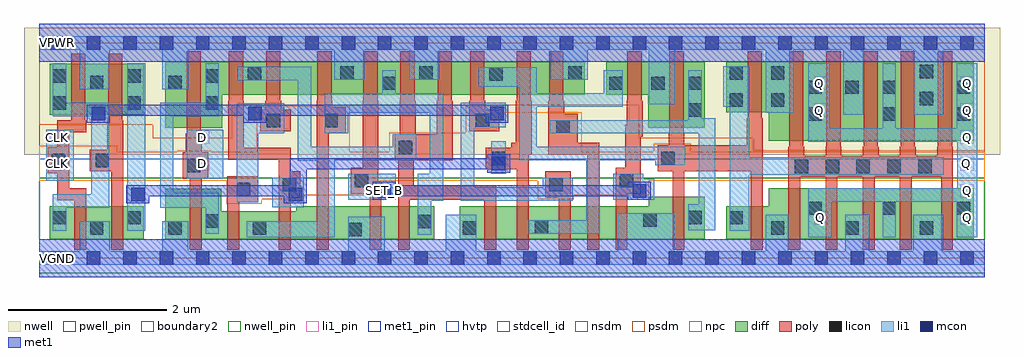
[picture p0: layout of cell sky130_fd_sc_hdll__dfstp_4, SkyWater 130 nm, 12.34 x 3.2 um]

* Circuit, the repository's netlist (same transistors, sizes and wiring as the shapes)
* Copyright 2020 The SkyWater PDK Authors
*
* Licensed under the Apache License, Version 2.0 (the "License");
* you may not use this file except in compliance with the License.
* You may obtain a copy of the License at
*
*     https://www.apache.org/licenses/LICENSE-2.0
*
* Unless required by applicable law or agreed to in writing, software
* distributed under the License is distributed on an "AS IS" BASIS,
* WITHOUT WARRANTIES OR CONDITIONS OF ANY KIND, either express or implied.
* See the License for the specific language governing permissions and
* limitations under the License.
*
* SPDX-License-Identifier: Apache-2.0

.SUBCKT sky130_fd_sc_hdll__dfstp_4 CLK D SET_B VGND VNB VPB VPWR Q
*.PININFO CLK:I D:I SET_B:I VGND:I VNB:I VPB:I VPWR:I Q:O
MI36 net120 M0 VGND VNB sky130_fd_pr__nfet_01v8 m=1 w=0.42U l=0.15U mult=1 sa=0.265
+ sb=0.265 sd=0.28 area=0.063 perim=1.14
MI42 db clkneg M0 VNB sky130_fd_pr__nfet_01v8 m=1 w=0.36U l=0.15U mult=1 sa=0.265
+ sb=0.265 sd=0.28 area=0.063 perim=1.14
MI44 clkneg CLK VGND VNB sky130_fd_pr__nfet_01v8 m=1 w=0.42U l=0.15U mult=1 sa=0.265
+ sb=0.265 sd=0.28 area=0.063 perim=1.14
MI39 db D VGND VNB sky130_fd_pr__nfet_01v8 m=1 w=0.64U l=0.15U mult=1 sa=0.265
+ sb=0.265 sd=0.28 area=0.063 perim=1.14
MI656 M1 M0 net103 VNB sky130_fd_pr__nfet_01v8 m=1 w=0.42U l=0.15U mult=1 sa=0.265
+ sb=0.265 sd=0.28 area=0.063 perim=1.14
MI654 net100 M1 VGND VNB sky130_fd_pr__nfet_01v8 m=1 w=0.42U l=0.15U mult=1 sa=0.265
+ sb=0.265 sd=0.28 area=0.063 perim=1.14
MI34 S0 clkpos net120 VNB sky130_fd_pr__nfet_01v8 m=1 w=0.42U l=0.15U mult=1 sa=0.265
+ sb=0.265 sd=0.28 area=0.063 perim=1.14
MI46 clkpos clkneg VGND VNB sky130_fd_pr__nfet_01v8 m=1 w=0.42U l=0.15U mult=1
+ sa=0.265 sb=0.265 sd=0.28 area=0.063 perim=1.14
MI25 net88 SET_B VGND VNB sky130_fd_pr__nfet_01v8 m=1 w=0.42U l=0.15U mult=1 sa=0.265
+ sb=0.265 sd=0.28 area=0.063 perim=1.14
MI26 S0 clkneg net80 VNB sky130_fd_pr__nfet_01v8 m=1 w=0.42U l=0.15U mult=1 sa=0.265
+ sb=0.265 sd=0.28 area=0.063 perim=1.14
MI27 net80 S1 net88 VNB sky130_fd_pr__nfet_01v8 m=1 w=0.42U l=0.15U mult=1 sa=0.265
+ sb=0.265 sd=0.28 area=0.063 perim=1.14
MI647 S1 S0 VGND VNB sky130_fd_pr__nfet_01v8 m=1 w=0.54U l=0.15U mult=1 sa=0.265
+ sb=0.265 sd=0.28 area=0.063 perim=1.14
MI655 M0 clkpos net100 VNB sky130_fd_pr__nfet_01v8 m=1 w=0.36U l=0.15U mult=1 sa=0.265
+ sb=0.265 sd=0.28 area=0.063 perim=1.14
MI657 net103 SET_B VGND VNB sky130_fd_pr__nfet_01v8 m=1 w=0.42U l=0.15U mult=1
+ sa=0.265 sb=0.265 sd=0.28 area=0.063 perim=1.14
MI652 net128 S0 VGND VNB sky130_fd_pr__nfet_01v8 m=1 w=0.42U l=0.15U mult=1 sa=0.265
+ sb=0.265 sd=0.28 area=0.063 perim=1.14
MI653 Q net128 VGND VNB sky130_fd_pr__nfet_01v8 m=5 w=0.65U l=0.15U mult=1 sa=0.265
+ sb=0.265 sd=0.28 area=0.063 perim=1.14
MI40 db D VPWR VPB sky130_fd_pr__pfet_01v8_hvt m=1 w=0.84U l=0.18U mult=1 sa=0.265
+ sb=0.265 sd=0.28 area=0.063 perim=1.14
MI38 S0 clkneg net179 VPB sky130_fd_pr__pfet_01v8_hvt m=1 w=0.42U l=0.18U mult=1
+ sa=0.265 sb=0.265 sd=0.28 area=0.063 perim=1.14
MI37 net179 M0 VPWR VPB sky130_fd_pr__pfet_01v8_hvt m=1 w=0.42U l=0.18U mult=1
+ sa=0.265 sb=0.265 sd=0.28 area=0.063 perim=1.14
MI43 db clkpos M0 VPB sky130_fd_pr__pfet_01v8_hvt m=1 w=0.42U l=0.18U mult=1 sa=0.265
+ sb=0.265 sd=0.28 area=0.063 perim=1.14
MI45 clkneg CLK VPWR VPB sky130_fd_pr__pfet_01v8_hvt m=1 w=0.64U l=0.18U mult=1
+ sa=0.265 sb=0.265 sd=0.28 area=0.063 perim=1.14
MI47 clkpos clkneg VPWR VPB sky130_fd_pr__pfet_01v8_hvt m=1 w=0.64U l=0.18U mult=1
+ sa=0.265 sb=0.265 sd=0.28 area=0.063 perim=1.14
MI659 M1 SET_B VPWR VPB sky130_fd_pr__pfet_01v8_hvt m=1 w=0.42U l=0.18U mult=1
+ sa=0.265 sb=0.265 sd=0.28 area=0.063 perim=1.14
MI662 net156 M1 VPWR VPB sky130_fd_pr__pfet_01v8_hvt m=1 w=0.42U l=0.18U mult=1
+ sa=0.265 sb=0.265 sd=0.28 area=0.063 perim=1.14
MI664 M0 clkneg net156 VPB sky130_fd_pr__pfet_01v8_hvt m=1 w=0.42U l=0.18U mult=1
+ sa=0.265 sb=0.265 sd=0.28 area=0.063 perim=1.14
MI6 net143 S1 VPWR VPB sky130_fd_pr__pfet_01v8_hvt m=1 w=0.42U l=0.18U mult=1 sa=0.265
+ sb=0.265 sd=0.28 area=0.063 perim=1.14
MI5 S0 clkpos net143 VPB sky130_fd_pr__pfet_01v8_hvt m=1 w=0.42U l=0.18U mult=1
+ sa=0.265 sb=0.265 sd=0.28 area=0.063 perim=1.14
MI24 S0 SET_B VPWR VPB sky130_fd_pr__pfet_01v8_hvt m=1 w=0.42U l=0.18U mult=1 sa=0.265
+ sb=0.265 sd=0.28 area=0.063 perim=1.14
MI648 S1 S0 VPWR VPB sky130_fd_pr__pfet_01v8_hvt m=1 w=0.84U l=0.18U mult=1 sa=0.265
+ sb=0.265 sd=0.28 area=0.063 perim=1.14
MI658 M1 M0 VPWR VPB sky130_fd_pr__pfet_01v8_hvt m=1 w=0.42U l=0.18U mult=1 sa=0.265
+ sb=0.265 sd=0.28 area=0.063 perim=1.14
MI663 net128 S0 VPWR VPB sky130_fd_pr__pfet_01v8_hvt m=1 w=0.64U l=0.18U mult=1
+ sa=0.265 sb=0.265 sd=0.28 area=0.063 perim=1.14
MI660 Q net128 VPWR VPB sky130_fd_pr__pfet_01v8_hvt m=5 w=1.0U l=0.18U mult=1 sa=0.265
+ sb=0.265 sd=0.28 area=0.063 perim=1.14
.ENDS sky130_fd_sc_hdll__dfstp_4

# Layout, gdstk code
import gdstk
lib = gdstk.Library(unit=1e-6, precision=1e-09)
def R(c, l, rs):  # rectangles x0, y0, x1, y1
    for r in rs: c.add(gdstk.rectangle(r[:2], r[2:], *l))
def A(c, l, x, y, w, h, nx, ny, dx, dy):  # array of equal rectangles
    R(c, l, [(x+i*dx, y+j*dy, x+i*dx+w, y+j*dy+h) for i in range(nx) for j in range(ny)])
def P(c, l, *ps):  # polygons
    for p in ps: c.add(gdstk.Polygon(p, *l))
nwell_pin = (64, 16)
nwell = (64, 20)
diff = (65, 20)
poly = (66, 20)
licon = (66, 44)
li1_pin = (67, 16)
li1 = (67, 20)
mcon = (67, 44)
met1_pin = (68, 16)
met1 = (68, 20)
hvtp = (78, 44)
stdcell_id = (81, 4)
nsdm = (93, 44)
psdm = (94, 20)
npc = (95, 20)
pwell_pin = (122, 16)
boundary2 = (236, 0)

sky130_fd_sc_hdll__dfstp = lib.new_cell('sky130_fd_sc_hdll__dfstp_4')
R(sky130_fd_sc_hdll__dfstp, nwell_pin, [(0.145,2.635,0.315,2.805), (0.145,2.635,0.315,2.805)])
R(sky130_fd_sc_hdll__dfstp, nwell, [(-0.19,1.305,12.15,2.91)])
R(sky130_fd_sc_hdll__dfstp, diff, [(0.135,0.235,1.325,0.655), (0.135,1.815,1.325,2.455)])
P(sky130_fd_sc_hdll__dfstp, diff, [(5,0.655),(3.255,0.655),(3.255,0.595),(2.305,0.595),(2.305,0.875),(1.595,0.875),(1.595,0.235),(5,0.235)],
  [(6.9,2.485),(1.595,2.485),(1.595,1.645),(2.315,1.645),(2.315,2.065),(6.9,2.065)],
  [(8.42,2.485),(7.17,2.485),(7.17,2.065),(7.705,2.065),(7.705,1.645),(8.42,1.645)],
  [(8.42,0.775),(7.71,0.775),(7.71,0.655),(5.32,0.655),(5.32,0.235),(8.42,0.235)],
  [(11.815,2.485),(8.69,2.485),(8.69,1.845),(9.225,1.845),(9.225,1.485),(11.815,1.485)],
  [(11.815,0.885),(9.225,0.885),(9.225,0.655),(8.69,0.655),(8.69,0.235),(11.815,0.235)])
P(sky130_fd_sc_hdll__dfstp, poly, [(0.595,1.74),(0.585,1.74),(0.585,2.585),(0.405,2.585),(0.405,1.74),(0.23,1.74),(0.23,1.4),(0.11,1.4),(0.11,1.07),(0.23,1.07),(0.23,0.73),(0.445,0.73),(0.445,0.105),(0.595,0.105),(0.595,0.88),(0.38,0.88),(0.38,1.59),(0.595,1.59)],
  [(1.065,1.74),(1.055,1.74),(1.055,2.585),(0.875,2.585),(0.875,1.74),(0.865,1.74),(0.865,1.37),(0.64,1.37),(0.64,1.1),(0.915,1.1),(0.915,0.105),(1.065,0.105)],
  [(2.14,1.335),(2.055,1.335),(2.055,1.57),(2.045,1.57),(2.045,2.615),(1.865,2.615),(1.865,1.57),(1.855,1.57),(1.855,1.335),(1.82,1.335),(1.82,1.005),(1.905,1.005),(1.905,0.105),(2.055,0.105),(2.055,1.005),(2.14,1.005)],
  [(2.77,1.035),(2.38,1.035),(2.38,0.105),(2.53,0.105),(2.53,0.705),(2.77,0.705)],
  [(3.18,1.875),(3.06,1.875),(3.06,1.99),(3.05,1.99),(3.05,2.615),(2.87,2.615),(2.87,1.99),(2.86,1.99),(2.86,1.875),(2.8,1.875),(2.8,1.605),(3.18,1.605)],
  [(3.3,1.095),(3.18,1.095),(3.18,1.395),(2.59,1.395),(2.59,1.99),(2.58,1.99),(2.58,2.615),(2.4,2.615),(2.4,1.99),(2.39,1.99),(2.39,1.245),(3.03,1.245),(3.03,0.105),(3.18,0.105),(3.18,0.765),(3.3,0.765)],
  [(3.88,1.905),(3.71,1.905),(3.71,1.99),(3.7,1.99),(3.7,2.615),(3.52,2.615),(3.52,1.99),(3.51,1.99),(3.51,0.105),(3.66,0.105),(3.66,1.575),(3.88,1.575)],
  [(4.33,0.965),(4.29,0.965),(4.29,1.99),(4.28,1.99),(4.28,2.615),(4.1,2.615),(4.1,1.99),(4.09,1.99),(4.09,1.145),(3.94,1.145),(3.94,0.815),(4.18,0.815),(4.18,0.105),(4.33,0.105)],
  [(5.78,0.915),(4.74,0.915),(4.74,1.235),(5.23,1.235),(5.23,1.99),(5.22,1.99),(5.22,2.615),(5.04,2.615),(5.04,1.99),(5.03,1.99),(5.03,1.565),(4.76,1.565),(4.76,1.99),(4.75,1.99),(4.75,2.615),(4.57,2.615),(4.57,1.99),(4.56,1.99),(4.56,1.565),(4.5,1.565),(4.5,1.235),(4.54,1.235),(4.54,0.105),(4.69,0.105),(4.69,0.735),(5.63,0.735),(5.63,0.105),(5.78,0.105)],
  [(5.82,1.875),(5.64,1.875),(5.64,1.99),(5.63,1.99),(5.63,2.615),(5.45,2.615),(5.45,1.99),(5.44,1.99),(5.44,1.605),(5.82,1.605)],
  [(6.23,1.99),(6.22,1.99),(6.22,2.615),(6.04,2.615),(6.04,1.99),(6.03,1.99),(6.03,1.455),(5.97,1.455),(5.97,1.395),(5.65,1.395),(5.65,1.125),(6.04,1.125),(6.04,0.105),(6.19,0.105),(6.19,1.305),(6.23,1.305)],
  [(6.72,1.095),(6.4,1.095),(6.4,0.765),(6.57,0.765),(6.57,0.105),(6.72,0.105)],
  [(7.08,1.455),(6.81,1.455),(6.81,1.825),(6.64,1.825),(6.64,1.99),(6.63,1.99),(6.63,2.615),(6.45,2.615),(6.45,1.99),(6.44,1.99),(6.44,1.305),(6.93,1.305),(6.93,0.105),(7.08,0.105)],
  [(7.63,1.99),(7.62,1.99),(7.62,2.615),(7.44,2.615),(7.44,1.99),(7.43,1.99),(7.43,1.685),(7.41,1.685),(7.41,1.145),(7.29,1.145),(7.29,0.105),(7.44,0.105),(7.44,0.815),(7.61,0.815),(7.61,1.535),(7.63,1.535)],
  [(9.15,1.77),(9.14,1.77),(9.14,2.615),(8.96,2.615),(8.96,1.77),(8.95,1.77),(8.95,1.425),(8.16,1.425),(8.16,1.57),(8.15,1.57),(8.15,2.615),(7.97,2.615),(7.97,1.57),(7.96,1.57),(7.96,1.425),(7.82,1.425),(7.82,1.095),(8.01,1.095),(8.01,0.105),(8.16,0.105),(8.16,1.095),(9,1.095),(9,0.105),(9.15,0.105)],
  [(11.555,1.41),(11.545,1.41),(11.545,2.615),(11.365,2.615),(11.365,1.41),(11.355,1.41),(11.355,1.295),(11.085,1.295),(11.085,1.41),(11.075,1.41),(11.075,2.615),(10.895,2.615),(10.895,1.41),(10.885,1.41),(10.885,1.295),(10.615,1.295),(10.615,1.41),(10.605,1.41),(10.605,2.615),(10.425,2.615),(10.425,1.41),(10.415,1.41),(10.415,1.295),(10.145,1.295),(10.145,1.41),(10.135,1.41),(10.135,2.615),(9.955,2.615),(9.955,1.41),(9.945,1.41),(9.945,1.295),(9.675,1.295),(9.675,1.41),(9.665,1.41),(9.665,2.615),(9.485,2.615),(9.485,1.41),(9.475,1.41),(9.475,0.105),(9.625,0.105),(9.625,1.025),(9.945,1.025),(9.945,0.105),(10.095,0.105),(10.095,1.025),(10.415,1.025),(10.415,0.105),(10.565,0.105),(10.565,1.025),(10.885,1.025),(10.885,0.105),(11.035,0.105),(11.035,1.025),(11.405,1.025),(11.405,0.105),(11.555,0.105)])
A(sky130_fd_sc_hdll__dfstp, licon, 9.255, 0.295, 0.17, 0.17, 3, 1, 0.94, 0)
A(sky130_fd_sc_hdll__dfstp, licon, 9.725, 0.545, 0.17, 0.17, 3, 2, 0.94, 1.19)
A(sky130_fd_sc_hdll__dfstp, licon, 9.555, 1.075, 0.17, 0.17, 5, 1, 0.39, 0)
A(sky130_fd_sc_hdll__dfstp, licon, 9.725, 2.075, 0.17, 0.17, 3, 1, 0.47, 0)
R(sky130_fd_sc_hdll__dfstp, licon, [(3.91,0.275,4.08,0.445), (0.645,0.295,0.815,0.465), (1.635,0.295,1.805,0.465), (2.705,0.295,2.875,0.465), (5.36,0.295,5.53,0.465), (6.27,0.305,6.44,0.475), (4.79,0.375,4.96,0.545), (2.105,0.385,2.275,0.555), (7.64,0.395,7.81,0.565), (0.175,0.425,0.345,0.595), (1.115,0.425,1.285,0.595), (8.73,0.425,8.9,0.595), (8.21,0.43,8.38,0.6), (2.5,0.785,2.67,0.955), (3.08,0.845,3.25,1.015), (6.45,0.845,6.62,1.015), (3.99,0.895,4.16,1.065), (7.34,0.895,7.51,1.065), (1.87,1.085,2.04,1.255), (0.16,1.15,0.33,1.32), (0.72,1.15,0.89,1.32), (5.73,1.175,5.9,1.345), (7.87,1.175,8.04,1.345), (4.55,1.315,4.72,1.485), (6.54,1.575,6.71,1.745), (2.88,1.655,3.05,1.825), (3.61,1.655,3.78,1.825), (5.52,1.655,5.69,1.825), (8.21,1.785,8.38,1.955), (0.175,1.875,0.345,2.045), (1.115,1.875,1.285,2.045), (2.105,1.875,2.275,2.045), (8.73,1.915,8.9,2.085), (9.255,1.915,9.425,2.085), (11.135,1.935,11.305,2.105), (11.605,2.075,11.775,2.245), (4.34,2.125,4.51,2.295), (7.21,2.125,7.38,2.295), (7.74,2.125,7.91,2.295), (8.21,2.125,8.38,2.295), (0.645,2.135,0.815,2.305), (1.635,2.135,1.805,2.305), (0.175,2.215,0.345,2.385), (1.115,2.215,1.285,2.385), (2.105,2.215,2.275,2.385), (5.69,2.245,5.86,2.415), (2.64,2.25,2.81,2.42), (3.81,2.255,3.98,2.425), (4.81,2.255,4.98,2.425), (6.69,2.255,6.86,2.425), (8.73,2.255,8.9,2.425), (9.255,2.255,9.425,2.425), (11.135,2.275,11.305,2.445)])
A(sky130_fd_sc_hdll__dfstp, li1_pin, 11.645, 0.425, 0.17, 0.17, 1, 6, 0, 0.34)
R(sky130_fd_sc_hdll__dfstp, li1_pin, [(0.145,-0.085,0.315,0.085), (9.8,0.425,9.97,0.595), (0.145,1.105,0.315,1.275), (1.985,1.105,2.155,1.275), (0.145,1.445,0.315,1.615), (1.985,1.445,2.155,1.615), (9.8,1.785,9.97,1.955), (9.8,2.125,9.97,2.295), (0.145,2.635,0.315,2.805)])
R(sky130_fd_sc_hdll__dfstp, li1, [(1.115,0.345,1.34,2.465), (2.95,0.645,3.35,1.015), (3.91,0.735,4.51,1.065), (0.09,0.975,0.44,1.625), (1.87,1.005,2.33,1.625), (5.72,1.065,5.9,1.475)])
P(sky130_fd_sc_hdll__dfstp, li1, [(2.275,0.825),(1.7,0.825),(1.7,1.795),(2.275,1.795),(2.275,2.465),(2.105,2.465),(2.105,1.965),(1.53,1.965),(1.53,0.635),(2.105,0.635),(2.105,0.305),(2.275,0.305)],
  [(3.1,1.955),(2.5,1.955),(2.5,0.705),(2.77,0.705),(2.77,1.575),(3.1,1.575)],
  [(4.77,1.565),(4.47,1.565),(4.47,1.405),(3.44,1.405),(3.44,2.42),(2.51,2.42),(2.51,2.25),(3.27,2.25),(3.27,1.23),(3.52,1.23),(3.52,0.465),(2.625,0.465),(2.625,0.265),(3.74,0.265),(3.74,1.235),(4.77,1.235)],
  [(5.11,2.085),(4.51,2.085),(4.51,2.375),(4.34,2.375),(4.34,2.085),(3.61,2.085),(3.61,1.575),(3.91,1.575),(3.91,1.835),(4.94,1.835),(4.94,1.065),(4.79,1.065),(4.79,0.295),(4.96,0.295),(4.96,0.725),(5.11,0.725)],
  [(6.75,1.015),(6.37,1.015),(6.37,0.895),(5.5,0.895),(5.5,1.655),(5.9,1.655),(5.9,1.965),(5.33,1.965),(5.33,0.725),(6.75,0.725)],
  [(7.78,1.005),(7.64,1.005),(7.64,1.065),(7.26,1.065),(7.26,0.735),(7.78,0.735)],
  [(8.17,1.405),(6.29,1.405),(6.29,1.915),(7.38,1.915),(7.38,2.375),(7.14,2.375),(7.14,2.085),(6.29,2.085),(6.29,2.415),(5.56,2.415),(5.56,2.165),(6.07,2.165),(6.07,1.235),(6.92,1.235),(6.92,0.475),(6.19,0.475),(6.19,0.305),(7.09,0.305),(7.09,1.235),(7.79,1.235),(7.79,1.175),(8.17,1.175)],
  [(8.55,1.765),(8.38,1.765),(8.38,2.375),(8.21,2.375),(8.21,1.745),(6.46,1.745),(6.46,1.575),(8.34,1.575),(8.34,0.68),(8.21,0.68),(8.21,0.35),(8.55,0.35)],
  [(11.44,1.275),(8.98,1.275),(8.98,2.425),(8.65,2.425),(8.65,1.915),(8.73,1.915),(8.73,0.345),(8.98,0.345),(8.98,1.055),(11.44,1.055)],
  [(11.86,2.465),(11.605,2.465),(11.605,1.64),(10.835,1.64),(10.835,2.465),(10.665,2.465),(10.665,1.64),(9.995,1.64),(9.995,2.465),(9.725,2.465),(9.725,1.47),(11.61,1.47),(11.61,0.885),(9.725,0.885),(9.725,0.265),(10.025,0.265),(10.025,0.715),(10.665,0.715),(10.665,0.265),(10.835,0.265),(10.835,0.715),(11.605,0.715),(11.605,0.265),(11.86,0.265)],
  [(11.96,2.805),(0,2.805),(0,2.635),(0.515,2.635),(0.515,2.135),(0.895,2.135),(0.895,2.635),(1.555,2.635),(1.555,2.135),(1.885,2.135),(1.885,2.635),(3.73,2.635),(3.73,2.255),(4.11,2.255),(4.11,2.635),(4.68,2.635),(4.68,2.255),(5.06,2.255),(5.06,2.635),(6.47,2.635),(6.47,2.255),(6.94,2.255),(6.94,2.635),(7.71,2.635),(7.71,1.945),(8.04,1.945),(8.04,2.635),(9.19,2.635),(9.19,1.835),(9.545,1.835),(9.545,2.635),(10.165,2.635),(10.165,1.81),(10.42,1.81),(10.42,2.635),(11.055,2.635),(11.055,1.81),(11.435,1.81),(11.435,2.635),(11.96,2.635)],
  [(11.96,0.085),(11.435,0.085),(11.435,0.545),(11.055,0.545),(11.055,0.085),(10.495,0.085),(10.495,0.545),(10.195,0.545),(10.195,0.085),(9.475,0.085),(9.475,0.545),(9.19,0.545),(9.19,0.085),(8.03,0.085),(8.03,0.565),(7.32,0.565),(7.32,0.085),(5.53,0.085),(5.53,0.545),(5.14,0.545),(5.14,0.085),(4.37,0.085),(4.37,0.525),(3.91,0.525),(3.91,0.085),(1.885,0.085),(1.885,0.465),(1.555,0.465),(1.555,0.085),(0.895,0.085),(0.895,0.465),(0.515,0.465),(0.515,0.085),(0,0.085),(0,-0.085),(11.96,-0.085)],
  [(0.89,1.965),(0.345,1.965),(0.345,2.465),(0.175,2.465),(0.175,1.795),(0.66,1.795),(0.66,0.805),(0.175,0.805),(0.175,0.345),(0.345,0.345),(0.345,0.635),(0.89,0.635)])
A(sky130_fd_sc_hdll__dfstp, mcon, 0.145, -0.085, 0.17, 0.17, 26, 2, 0.46, 2.72)
R(sky130_fd_sc_hdll__dfstp, mcon, [(1.165,0.72,1.335,0.89), (3.155,0.72,3.325,0.89), (4.28,0.765,4.45,0.935), (7.505,0.765,7.675,0.935), (5.725,1.11,5.895,1.28), (0.665,1.74,0.835,1.91), (2.645,1.74,2.815,1.91), (5.705,1.74,5.875,1.91)])
R(sky130_fd_sc_hdll__dfstp, met1_pin, [(0.145,-0.085,0.315,0.085), (4.285,0.765,4.455,0.935), (0.145,2.635,0.315,2.805)])
R(sky130_fd_sc_hdll__dfstp, met1, [(0,-0.24,11.96,0.24), (0,2.48,11.96,2.96)])
P(sky130_fd_sc_hdll__dfstp, met1, [(5.955,1.31),(5.665,1.31),(5.665,1.26),(3.17,1.26),(3.17,0.92),(1.105,0.92),(1.105,0.69),(1.395,0.69),(1.395,0.78),(3.095,0.78),(3.095,0.69),(3.385,0.69),(3.385,1.12),(5.665,1.12),(5.665,1.08),(5.955,1.08)],
  [(5.935,1.94),(0.605,1.94),(0.605,1.71),(0.895,1.71),(0.895,1.8),(2.585,1.8),(2.585,1.71),(2.875,1.71),(2.875,1.8),(5.645,1.8),(5.645,1.71),(5.935,1.71)],
  [(7.735,0.965),(7.445,0.965),(7.445,0.92),(4.51,0.92),(4.51,0.965),(4.22,0.965),(4.22,0.735),(4.51,0.735),(4.51,0.78),(7.445,0.78),(7.445,0.735),(7.735,0.735)])
R(sky130_fd_sc_hdll__dfstp, hvtp, [(0,1.25,11.96,2.72)])
R(sky130_fd_sc_hdll__dfstp, stdcell_id, [(0,0,11.96,2.72)])
R(sky130_fd_sc_hdll__dfstp, nsdm, [(0,-0.19,11.96,1.015)])
P(sky130_fd_sc_hdll__dfstp, psdm, [(11.96,2.91),(0,2.91),(0,1.685),(1.44,1.685),(1.44,1.515),(2.445,1.515),(2.445,1.935),(7.58,1.935),(7.58,1.515),(9.03,1.515),(9.03,1.355),(11.96,1.355)])
P(sky130_fd_sc_hdll__dfstp, npc, [(11.96,1.345),(8.24,1.345),(8.24,1.445),(7.77,1.445),(7.77,1.345),(6.86,1.345),(6.86,1.845),(5.84,1.845),(5.84,1.925),(5.395,1.925),(5.395,1.585),(4.425,1.585),(4.425,1.345),(3.93,1.345),(3.93,1.925),(2.755,1.925),(2.755,1.345),(2.165,1.345),(2.165,1.355),(1.745,1.355),(1.745,1.345),(0.99,1.345),(0.99,1.42),(0,1.42),(0,0.975),(2.375,0.975),(2.375,0.685),(2.815,0.685),(2.815,0.745),(3.34,0.745),(3.34,0.795),(4.31,0.795),(4.31,0.975),(6.305,0.975),(6.305,0.745),(6.76,0.745),(6.76,0.795),(7.71,0.795),(7.71,0.975),(11.96,0.975)])
R(sky130_fd_sc_hdll__dfstp, pwell_pin, [(0.145,-0.085,0.315,0.085), (0.145,-0.085,0.315,0.085)])
R(sky130_fd_sc_hdll__dfstp, boundary2, [(0,0,11.96,2.72)])
sky130_fd_sc_hdll__dfstp.add(gdstk.Label('Q', (11.735,1.87), layer=67, texttype=5))
sky130_fd_sc_hdll__dfstp.add(gdstk.Label('Q', (11.735,2.21), layer=67, texttype=5))
sky130_fd_sc_hdll__dfstp.add(gdstk.Label('Q', (11.735,0.85), layer=67, texttype=5))
sky130_fd_sc_hdll__dfstp.add(gdstk.Label('Q', (11.735,0.51), layer=67, texttype=5))
sky130_fd_sc_hdll__dfstp.add(gdstk.Label('Q', (11.735,1.53), layer=67, texttype=5))
sky130_fd_sc_hdll__dfstp.add(gdstk.Label('Q', (11.725,1.19), layer=67, texttype=5))
sky130_fd_sc_hdll__dfstp.add(gdstk.Label('D', (2.07,1.53), layer=67, texttype=5))
sky130_fd_sc_hdll__dfstp.add(gdstk.Label('D', (2.07,1.19), layer=67, texttype=5))
sky130_fd_sc_hdll__dfstp.add(gdstk.Label('VPWR', (0.23,2.72), layer=67, texttype=5))
sky130_fd_sc_hdll__dfstp.add(gdstk.Label('Q', (9.865,2.21), layer=67, texttype=5))
sky130_fd_sc_hdll__dfstp.add(gdstk.Label('Q', (9.865,1.87), layer=67, texttype=5))
sky130_fd_sc_hdll__dfstp.add(gdstk.Label('Q', (9.875,0.51), layer=67, texttype=5))
sky130_fd_sc_hdll__dfstp.add(gdstk.Label('CLK', (0.23,1.53), layer=67, texttype=5))
sky130_fd_sc_hdll__dfstp.add(gdstk.Label('CLK', (0.23,1.19), layer=67, texttype=5))
sky130_fd_sc_hdll__dfstp.add(gdstk.Label('VGND', (0.23,0), layer=67, texttype=5))
sky130_fd_sc_hdll__dfstp.add(gdstk.Label('VPB', (0.23,2.72), layer=64, texttype=5))
sky130_fd_sc_hdll__dfstp.add(gdstk.Label('VPB', (0.23,2.72), layer=64, texttype=5))
sky130_fd_sc_hdll__dfstp.add(gdstk.Label('VNB', (0.23,0), layer=64, texttype=59))
sky130_fd_sc_hdll__dfstp.add(gdstk.Label('VNB', (0.23,0), layer=64, texttype=59))
sky130_fd_sc_hdll__dfstp.add(gdstk.Label('VPWR', (0.23,2.72), layer=68, texttype=5))
sky130_fd_sc_hdll__dfstp.add(gdstk.Label('VGND', (0.23,0), layer=68, texttype=5))
sky130_fd_sc_hdll__dfstp.add(gdstk.Label('SET_B', (4.37,0.85), layer=68, texttype=5))
sky130_fd_sc_hdll__dfstp.add(gdstk.Label('dfstp_4', (0,0), layer=83, texttype=44))

lib.write_gds('sky130_fd_sc_hdll__dfstp_4.gds')
